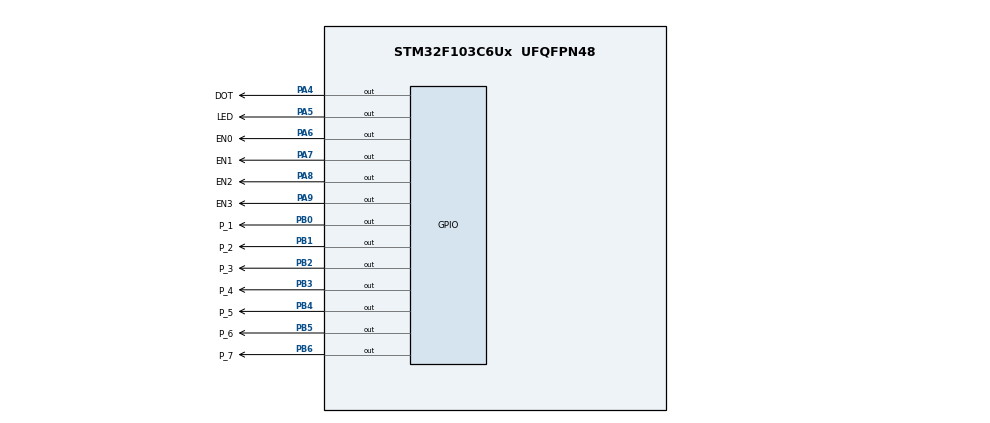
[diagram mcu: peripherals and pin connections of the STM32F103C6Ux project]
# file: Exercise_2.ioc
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Mcu.Family=STM32F1
Mcu.Name=STM32F103C6Ux
Mcu.Package=UFQFPN48
NVIC.PriorityGroup=NVIC_PRIORITYGROUP_4
NVIC.TIM2_IRQn=true\:0\:0\:false\:false\:true\:true\:true
PA4.GPIO_Label=DOT
PA4.Signal=GPIO_Output
PA5.GPIO_Label=LED
PA5.Signal=GPIO_Output
PA6.GPIO_Label=EN0
PA6.Signal=GPIO_Output
PA7.GPIO_Label=EN1
PA7.Signal=GPIO_Output
PA8.GPIO_Label=EN2
PA8.Signal=GPIO_Output
PA9.GPIO_Label=EN3
PA9.Signal=GPIO_Output
PB0.GPIO_Label=P_1
PB0.Signal=GPIO_Output
PB1.GPIO_Label=P_2
PB1.Signal=GPIO_Output
PB2.GPIO_Label=P_3
PB2.Signal=GPIO_Output
PB3.GPIO_Label=P_4
PB3.Signal=GPIO_Output
PB4.GPIO_Label=P_5
PB4.Signal=GPIO_Output
PB5.GPIO_Label=P_6
PB5.Signal=GPIO_Output
PB6.GPIO_Label=P_7
PB6.Signal=GPIO_Output
ProjectManager.HeapSize=0x200
ProjectManager.StackSize=0x400
ProjectManager.TargetToolchain=STM32CubeIDE
RCC.APB1Freq_Value=8000000
RCC.APB2Freq_Value=8000000
TIM2.Period=9
TIM2.Prescaler=7999
VP_SYS_VS_ND.Mode=No_Debug
VP_TIM2_VS_ClockSourceINT.Mode=Internal
board=custom

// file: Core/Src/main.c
/* USER CODE BEGIN Header */
/**
  ******************************************************************************
  * @file           : main.c
  * @brief          : Main program body
  ******************************************************************************
  * @attention
  *
  * <h2><center>&copy; Copyright (c) 2022 STMicroelectronics.
  * All rights reserved.</center></h2>
  *
  * This software component is licensed by ST under BSD 3-Clause license,
  * the "License"; You may not use this file except in compliance with the
  * License. You may obtain a copy of the License at:
  *                        opensource.org/licenses/BSD-3-Clause
  *
  ******************************************************************************
  */
/* USER CODE END Header */
#include "main.h"

TIM_HandleTypeDef htim2;

void SystemClock_Config(void);
static void MX_GPIO_Init(void);
static void MX_TIM2_Init(void);

/* USER CODE BEGIN 0 */
void display7SEG (int time)
{
	if(time==0)
	{
		HAL_GPIO_WritePin(P_1_GPIO_Port, P_1_Pin, RESET);
		HAL_GPIO_WritePin(P_2_GPIO_Port, P_2_Pin, RESET);
		HAL_GPIO_WritePin(P_3_GPIO_Port, P_3_Pin, RESET);
		HAL_GPIO_WritePin(P_4_GPIO_Port, P_4_Pin, RESET);
		HAL_GPIO_WritePin(P_5_GPIO_Port, P_5_Pin, RESET);
		HAL_GPIO_WritePin(P_6_GPIO_Port, P_6_Pin, RESET);
		HAL_GPIO_WritePin(P_7_GPIO_Port, P_7_Pin, SET);
	}
	else if(time==1)
	{
		HAL_GPIO_WritePin(P_1_GPIO_Port, P_1_Pin, SET);
		HAL_GPIO_WritePin(P_2_GPIO_Port, P_2_Pin, RESET);
		HAL_GPIO_WritePin(P_3_GPIO_Port, P_3_Pin, RESET);
		HAL_GPIO_WritePin(P_4_GPIO_Port, P_4_Pin, SET);
		HAL_GPIO_WritePin(P_5_GPIO_Port, P_5_Pin, SET);
		HAL_GPIO_WritePin(P_6_GPIO_Port, P_6_Pin, SET);
		HAL_GPIO_WritePin(P_7_GPIO_Port, P_7_Pin, SET);
	}
	else if(time==2)
	{
		HAL_GPIO_WritePin(P_1_GPIO_Port, P_1_Pin, RESET);
		HAL_GPIO_WritePin(P_2_GPIO_Port, P_2_Pin, RESET);
		HAL_GPIO_WritePin(P_3_GPIO_Port, P_3_Pin, SET);
		HAL_GPIO_WritePin(P_4_GPIO_Port, P_4_Pin, RESET);
		HAL_GPIO_WritePin(P_5_GPIO_Port, P_5_Pin, RESET);
		HAL_GPIO_WritePin(P_6_GPIO_Port, P_6_Pin, SET);
		HAL_GPIO_WritePin(P_7_GPIO_Port, P_7_Pin, RESET);
	}
	else if(time==3)
	{
		HAL_GPIO_WritePin(P_1_GPIO_Port, P_1_Pin, RESET);
		HAL_GPIO_WritePin(P_2_GPIO_Port, P_2_Pin, RESET);
		HAL_GPIO_WritePin(P_3_GPIO_Port, P_3_Pin, RESET);
		HAL_GPIO_WritePin(P_4_GPIO_Port, P_4_Pin, RESET);
		HAL_GPIO_WritePin(P_5_GPIO_Port, P_5_Pin, SET);
		HAL_GPIO_WritePin(P_6_GPIO_Port, P_6_Pin, SET);
		HAL_GPIO_WritePin(P_7_GPIO_Port, P_7_Pin, RESET);
	}
	else if(time==4)
	{
		HAL_GPIO_WritePin(P_1_GPIO_Port, P_1_Pin, SET);
		HAL_GPIO_WritePin(P_2_GPIO_Port, P_2_Pin, RESET);
		HAL_GPIO_WritePin(P_3_GPIO_Port, P_3_Pin, RESET);
		HAL_GPIO_WritePin(P_4_GPIO_Port, P_4_Pin, SET);
		HAL_GPIO_WritePin(P_5_GPIO_Port, P_5_Pin, SET);
		HAL_GPIO_WritePin(P_6_GPIO_Port, P_6_Pin, RESET);
		HAL_GPIO_WritePin(P_7_GPIO_Port, P_7_Pin, RESET);
	}
	else if(time==5)
	{
		HAL_GPIO_WritePin(P_1_GPIO_Port, P_1_Pin, RESET);
		HAL_GPIO_WritePin(P_2_GPIO_Port, P_2_Pin, SET);
		HAL_GPIO_WritePin(P_3_GPIO_Port, P_3_Pin, RESET);
		HAL_GPIO_WritePin(P_4_GPIO_Port, P_4_Pin, RESET);
		HAL_GPIO_WritePin(P_5_GPIO_Port, P_5_Pin, SET);
		HAL_GPIO_WritePin(P_6_GPIO_Port, P_6_Pin, RESET);
		HAL_GPIO_WritePin(P_7_GPIO_Port, P_7_Pin, RESET);
	}
	else if(time==6)
	{
		HAL_GPIO_WritePin(P_1_GPIO_Port, P_1_Pin, RESET);
		HAL_GPIO_WritePin(P_2_GPIO_Port, P_2_Pin, SET);
		HAL_GPIO_WritePin(P_3_GPIO_Port, P_3_Pin, RESET);
		HAL_GPIO_WritePin(P_4_GPIO_Port, P_4_Pin, RESET);
		HAL_GPIO_WritePin(P_5_GPIO_Port, P_5_Pin, RESET);
		HAL_GPIO_WritePin(P_6_GPIO_Port, P_6_Pin, RESET);
		HAL_GPIO_WritePin(P_7_GPIO_Port, P_7_Pin, RESET);
	}
	else if(time==7)
	{
		HAL_GPIO_WritePin(P_1_GPIO_Port, P_1_Pin, RESET);
		HAL_GPIO_WritePin(P_2_GPIO_Port, P_2_Pin, RESET);
		HAL_GPIO_WritePin(P_3_GPIO_Port, P_3_Pin, RESET);
		HAL_GPIO_WritePin(P_4_GPIO_Port, P_4_Pin, SET);
		HAL_GPIO_WritePin(P_5_GPIO_Port, P_5_Pin, SET);
		HAL_GPIO_WritePin(P_6_GPIO_Port, P_6_Pin, SET);
		HAL_GPIO_WritePin(P_7_GPIO_Port, P_7_Pin, SET);
	}
	else if(time==8)
	{
		HAL_GPIO_WritePin(P_1_GPIO_Port, P_1_Pin, RESET);
		HAL_GPIO_WritePin(P_2_GPIO_Port, P_2_Pin, RESET);
		HAL_GPIO_WritePin(P_3_GPIO_Port, P_3_Pin, RESET);
		HAL_GPIO_WritePin(P_4_GPIO_Port, P_4_Pin, RESET);
		HAL_GPIO_WritePin(P_5_GPIO_Port, P_5_Pin, RESET);
		HAL_GPIO_WritePin(P_6_GPIO_Port, P_6_Pin, RESET);
		HAL_GPIO_WritePin(P_7_GPIO_Port, P_7_Pin, RESET);
	}
	else if(time==9)
	{
		HAL_GPIO_WritePin(P_1_GPIO_Port, P_1_Pin, RESET);
		HAL_GPIO_WritePin(P_2_GPIO_Port, P_2_Pin, RESET);
		HAL_GPIO_WritePin(P_3_GPIO_Port, P_3_Pin, RESET);
		HAL_GPIO_WritePin(P_4_GPIO_Port, P_4_Pin, RESET);
		HAL_GPIO_WritePin(P_5_GPIO_Port, P_5_Pin, SET);
		HAL_GPIO_WritePin(P_6_GPIO_Port, P_6_Pin, RESET);
		HAL_GPIO_WritePin(P_7_GPIO_Port, P_7_Pin, RESET);
	}
}
/* USER CODE END 0 */

int main(void)
{

  /* MCU Configuration--------------------------------------------------------*/

  /* Reset of all peripherals, Initializes the Flash interface and the Systick. */
  HAL_Init();

  /* Configure the system clock */
  SystemClock_Config();

  /* Initialize all configured peripherals */
  MX_GPIO_Init();
  MX_TIM2_Init();
  /* USER CODE BEGIN 2 */
  HAL_TIM_Base_Start_IT (&htim2) ;
  /* USER CODE END 2 */

  /* Infinite loop */
  while (1)
  {

  }
}

void SystemClock_Config(void)
{
  RCC_OscInitTypeDef RCC_OscInitStruct = {0};
  RCC_ClkInitTypeDef RCC_ClkInitStruct = {0};

  /** Initializes the RCC Oscillators according to the specified parameters
  * in the RCC_OscInitTypeDef structure.
  */
  RCC_OscInitStruct.OscillatorType = RCC_OSCILLATORTYPE_HSI;
  RCC_OscInitStruct.HSIState = RCC_HSI_ON;
  RCC_OscInitStruct.HSICalibrationValue = RCC_HSICALIBRATION_DEFAULT;
  RCC_OscInitStruct.PLL.PLLState = RCC_PLL_NONE;
  if (HAL_RCC_OscConfig(&RCC_OscInitStruct) != HAL_OK)
  {
    Error_Handler();
  }
  /** Initializes the CPU, AHB and APB buses clocks
  */
  RCC_ClkInitStruct.ClockType = RCC_CLOCKTYPE_HCLK|RCC_CLOCKTYPE_SYSCLK
                              |RCC_CLOCKTYPE_PCLK1|RCC_CLOCKTYPE_PCLK2;
  RCC_ClkInitStruct.SYSCLKSource = RCC_SYSCLKSOURCE_HSI;
  RCC_ClkInitStruct.AHBCLKDivider = RCC_SYSCLK_DIV1;
  RCC_ClkInitStruct.APB1CLKDivider = RCC_HCLK_DIV1;
  RCC_ClkInitStruct.APB2CLKDivider = RCC_HCLK_DIV1;

  if (HAL_RCC_ClockConfig(&RCC_ClkInitStruct, FLASH_LATENCY_0) != HAL_OK)
  {
    Error_Handler();
  }
}

static void MX_TIM2_Init(void)
{

  TIM_ClockConfigTypeDef sClockSourceConfig = {0};
  TIM_MasterConfigTypeDef sMasterConfig = {0};

  htim2.Instance = TIM2;
  htim2.Init.Prescaler = 7999;
  htim2.Init.CounterMode = TIM_COUNTERMODE_UP;
  htim2.Init.Period = 9;
  htim2.Init.ClockDivision = TIM_CLOCKDIVISION_DIV1;
  htim2.Init.AutoReloadPreload = TIM_AUTORELOAD_PRELOAD_DISABLE;
  if (HAL_TIM_Base_Init(&htim2) != HAL_OK)
  {
    Error_Handler();
  }
  sClockSourceConfig.ClockSource = TIM_CLOCKSOURCE_INTERNAL;
  if (HAL_TIM_ConfigClockSource(&htim2, &sClockSourceConfig) != HAL_OK)
  {
    Error_Handler();
  }
  sMasterConfig.MasterOutputTrigger = TIM_TRGO_RESET;
  sMasterConfig.MasterSlaveMode = TIM_MASTERSLAVEMODE_DISABLE;
  if (HAL_TIMEx_MasterConfigSynchronization(&htim2, &sMasterConfig) != HAL_OK)
  {
    Error_Handler();
  }

}

static void MX_GPIO_Init(void)
{
  GPIO_InitTypeDef GPIO_InitStruct = {0};

  /* GPIO Ports Clock Enable */
  __HAL_RCC_GPIOA_CLK_ENABLE();
  __HAL_RCC_GPIOB_CLK_ENABLE();

  /*Configure GPIO pin Output Level */
  HAL_GPIO_WritePin(GPIOA, DOT_Pin|LED_Pin|EN0_Pin|EN1_Pin
                          |EN2_Pin|EN3_Pin, GPIO_PIN_RESET);

  /*Configure GPIO pin Output Level */
  HAL_GPIO_WritePin(GPIOB, P_1_Pin|P_2_Pin|P_3_Pin|P_4_Pin
                          |P_5_Pin|P_6_Pin|P_7_Pin, GPIO_PIN_RESET);

  /*Configure GPIO pins : DOT_Pin LED_Pin EN0_Pin EN1_Pin
                           EN2_Pin EN3_Pin */
  GPIO_InitStruct.Pin = DOT_Pin|LED_Pin|EN0_Pin|EN1_Pin
                          |EN2_Pin|EN3_Pin;
  GPIO_InitStruct.Mode = GPIO_MODE_OUTPUT_PP;
  GPIO_InitStruct.Pull = GPIO_NOPULL;
  GPIO_InitStruct.Speed = GPIO_SPEED_FREQ_LOW;
  HAL_GPIO_Init(GPIOA, &GPIO_InitStruct);

  /*Configure GPIO pins : P_1_Pin P_2_Pin P_3_Pin P_4_Pin
                           P_5_Pin P_6_Pin P_7_Pin */
  GPIO_InitStruct.Pin = P_1_Pin|P_2_Pin|P_3_Pin|P_4_Pin
                          |P_5_Pin|P_6_Pin|P_7_Pin;
  GPIO_InitStruct.Mode = GPIO_MODE_OUTPUT_PP;
  GPIO_InitStruct.Pull = GPIO_NOPULL;
  GPIO_InitStruct.Speed = GPIO_SPEED_FREQ_LOW;
  HAL_GPIO_Init(GPIOB, &GPIO_InitStruct);

}

/* USER CODE BEGIN 4 */
int led_counter=100;
int seg_counter=1;
int status=1;
int dot_time=50;
void HAL_TIM_PeriodElapsedCallback ( TIM_HandleTypeDef * htim )
{
	if(led_counter>0)
	{
		led_counter--;
		if(led_counter<=0)
		{
			led_counter=100;
			HAL_GPIO_TogglePin(LED_GPIO_Port, LED_Pin);

		}
	}
	if(dot_time>0)
	{
		dot_time--;
		if(dot_time<=0)
		{
			dot_time=50;
			HAL_GPIO_TogglePin(DOT_GPIO_Port,DOT_Pin);
		}
	}
	if(seg_counter>0)
	{
		seg_counter--;
		if(seg_counter<=0)
		{
			switch (status)
				{
				case 1:
					HAL_GPIO_WritePin(EN0_GPIO_Port, EN0_Pin, RESET);
					HAL_GPIO_WritePin(EN1_GPIO_Port, EN1_Pin, SET);
					HAL_GPIO_WritePin(EN2_GPIO_Port, EN2_Pin, SET);
					HAL_GPIO_WritePin(EN3_GPIO_Port, EN3_Pin, SET);
					display7SEG(status);
					status=2;
					break;
				case 2:
					HAL_GPIO_WritePin(EN0_GPIO_Port, EN0_Pin, SET);
					HAL_GPIO_WritePin(EN1_GPIO_Port, EN1_Pin, RESET);
					HAL_GPIO_WritePin(EN2_GPIO_Port, EN2_Pin, SET);
					HAL_GPIO_WritePin(EN3_GPIO_Port, EN3_Pin, SET);
					display7SEG(status);
					status=3;
					break;
				case 3:
					HAL_GPIO_WritePin(EN0_GPIO_Port, EN0_Pin, SET);
					HAL_GPIO_WritePin(EN1_GPIO_Port, EN1_Pin, SET);
					HAL_GPIO_WritePin(EN2_GPIO_Port, EN2_Pin, RESET);
					HAL_GPIO_WritePin(EN3_GPIO_Port, EN3_Pin, SET);
					display7SEG(status);
					status=0;
					break;
				case 0:
					HAL_GPIO_WritePin(EN0_GPIO_Port, EN0_Pin, SET);
					HAL_GPIO_WritePin(EN1_GPIO_Port, EN1_Pin, SET);
					HAL_GPIO_WritePin(EN2_GPIO_Port, EN2_Pin, SET);
					HAL_GPIO_WritePin(EN3_GPIO_Port, EN3_Pin, RESET);
					display7SEG(status);
					status=1;
					break;
				}
			seg_counter=50;
		}

	}
}

/* USER CODE END 4 */

void Error_Handler(void)
{
  __disable_irq();
  while (1)
  {
  }
}

/************************ (C) COPYRIGHT STMicroelectronics *****END OF FILE****/
